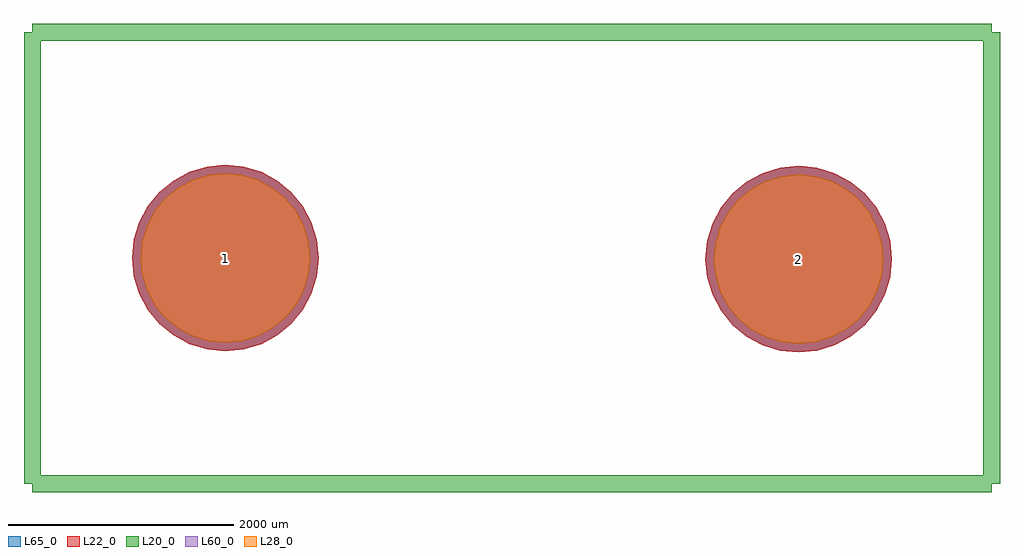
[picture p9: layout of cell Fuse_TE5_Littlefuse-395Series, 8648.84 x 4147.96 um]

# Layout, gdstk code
import gdstk
lib = gdstk.Library(unit=1e-6, precision=1e-09)
def P(c, l, *ps):  # polygons
    for p in ps: c.add(gdstk.Polygon(p, *l))
L20_0 = (20, 0)
L22_0 = (22, 0)
L28_0 = (28, 0)
L60_0 = (60, 0)
L65_0 = (65, 0)

fuse_te5_littlefuse_395s = lib.new_cell('Fuse_TE5_Littlefuse-395Series')
P(fuse_te5_littlefuse_395s, L22_0, [(3365.57,-10.16),(3349.707,150.901),(3302.727,305.772),(3226.436,448.502),(3123.766,573.606),(2998.662,676.276),(2855.932,752.567),(2701.061,799.547),(2540,815.41),(2378.939,799.547),(2224.068,752.567),(2081.338,676.276),(1956.234,573.606),(1853.564,448.502),(1777.273,305.772),(1730.293,150.901),(1714.43,-10.16),(1730.293,-171.221),(1777.273,-326.092),(1853.564,-468.822),(1956.234,-593.926),(2081.338,-696.596),(2224.068,-772.887),(2378.939,-819.867),(2540,-835.73),(2701.061,-819.867),(2855.932,-772.887),(2998.662,-696.596),(3123.766,-593.926),(3226.436,-468.822),(3302.727,-326.092),(3349.707,-171.221)],
  [(-1714.43,0),(-1730.293,161.061),(-1777.273,315.932),(-1853.564,458.662),(-1956.234,583.766),(-2081.338,686.436),(-2224.068,762.727),(-2378.939,809.707),(-2540,825.57),(-2701.061,809.707),(-2855.932,762.727),(-2998.662,686.436),(-3123.766,583.766),(-3226.436,458.662),(-3302.727,315.932),(-3349.707,161.061),(-3365.57,0),(-3349.707,-161.061),(-3302.727,-315.932),(-3226.436,-458.662),(-3123.766,-583.766),(-2998.662,-686.436),(-2855.932,-762.727),(-2701.061,-809.707),(-2540,-825.57),(-2378.939,-809.707),(-2224.068,-762.727),(-2081.338,-686.436),(-1956.234,-583.766),(-1853.564,-458.662),(-1777.273,-315.932),(-1730.293,-161.061)])
P(fuse_te5_littlefuse_395s, L28_0, [(3290.57,-10.16),(3276.148,136.269),(3233.436,277.071),(3164.076,406.834),(3070.733,520.573),(2956.994,613.916),(2827.231,683.276),(2686.429,725.988),(2540,740.41),(2393.571,725.988),(2252.769,683.276),(2123.006,613.916),(2009.267,520.573),(1915.924,406.834),(1846.564,277.071),(1803.852,136.269),(1789.43,-10.16),(1803.852,-156.589),(1846.564,-297.391),(1915.924,-427.154),(2009.267,-540.893),(2123.006,-634.236),(2252.769,-703.596),(2393.571,-746.308),(2540,-760.73),(2686.429,-746.308),(2827.231,-703.596),(2956.994,-634.236),(3070.733,-540.893),(3164.076,-427.154),(3233.436,-297.391),(3276.148,-156.589)],
  [(-1789.43,0),(-1803.852,146.429),(-1846.564,287.231),(-1915.924,416.994),(-2009.267,530.733),(-2123.006,624.076),(-2252.769,693.436),(-2393.571,736.148),(-2540,750.57),(-2686.429,736.148),(-2827.231,693.436),(-2956.994,624.076),(-3070.733,530.733),(-3164.076,416.994),(-3233.436,287.231),(-3276.148,146.429),(-3290.57,0),(-3276.148,-146.429),(-3233.436,-287.231),(-3164.076,-416.994),(-3070.733,-530.733),(-2956.994,-624.076),(-2827.231,-693.436),(-2686.429,-736.148),(-2540,-750.57),(-2393.571,-736.148),(-2252.769,-693.436),(-2123.006,-624.076),(-2009.267,-530.733),(-1915.924,-416.994),(-1846.564,-287.231),(-1803.852,-146.429)])
P(fuse_te5_littlefuse_395s, L60_0, [(3290.57,-10.16),(3276.148,136.269),(3233.436,277.071),(3164.076,406.834),(3070.733,520.573),(2956.994,613.916),(2827.231,683.276),(2686.429,725.988),(2540,740.41),(2393.571,725.988),(2252.769,683.276),(2123.006,613.916),(2009.267,520.573),(1915.924,406.834),(1846.564,277.071),(1803.852,136.269),(1789.43,-10.16),(1803.852,-156.589),(1846.564,-297.391),(1915.924,-427.154),(2009.267,-540.893),(2123.006,-634.236),(2252.769,-703.596),(2393.571,-746.308),(2540,-760.73),(2686.429,-746.308),(2827.231,-703.596),(2956.994,-634.236),(3070.733,-540.893),(3164.076,-427.154),(3233.436,-297.391),(3276.148,-156.589)],
  [(-1789.43,0),(-1803.852,146.429),(-1846.564,287.231),(-1915.924,416.994),(-2009.267,530.733),(-2123.006,624.076),(-2252.769,693.436),(-2393.571,736.148),(-2540,750.57),(-2686.429,736.148),(-2827.231,693.436),(-2956.994,624.076),(-3070.733,530.733),(-3164.076,416.994),(-3233.436,287.231),(-3276.148,146.429),(-3290.57,0),(-3276.148,-146.429),(-3233.436,-287.231),(-3164.076,-416.994),(-3070.733,-530.733),(-2956.994,-624.076),(-2827.231,-693.436),(-2686.429,-736.148),(-2540,-750.57),(-2393.571,-736.148),(-2252.769,-693.436),(-2123.006,-624.076),(-2009.267,-530.733),(-1915.924,-416.994),(-1846.564,-287.231),(-1803.852,-146.429)])
P(fuse_te5_littlefuse_395s, L65_0, [(3365.57,-10.16),(3349.707,150.901),(3302.727,305.772),(3226.436,448.502),(3123.766,573.606),(2998.662,676.276),(2855.932,752.567),(2701.061,799.547),(2540,815.41),(2378.939,799.547),(2224.068,752.567),(2081.338,676.276),(1956.234,573.606),(1853.564,448.502),(1777.273,305.772),(1730.293,150.901),(1714.43,-10.16),(1730.293,-171.221),(1777.273,-326.092),(1853.564,-468.822),(1956.234,-593.926),(2081.338,-696.596),(2224.068,-772.887),(2378.939,-819.867),(2540,-835.73),(2701.061,-819.867),(2855.932,-772.887),(2998.662,-696.596),(3123.766,-593.926),(3226.436,-468.822),(3302.727,-326.092),(3349.707,-171.221)],
  [(-1714.43,0),(-1730.293,161.061),(-1777.273,315.932),(-1853.564,458.662),(-1956.234,583.766),(-2081.338,686.436),(-2224.068,762.727),(-2378.939,809.707),(-2540,825.57),(-2701.061,809.707),(-2855.932,762.727),(-2998.662,686.436),(-3123.766,583.766),(-3226.436,458.662),(-3302.727,315.932),(-3349.707,161.061),(-3365.57,0),(-3349.707,-161.061),(-3302.727,-315.932),(-3226.436,-458.662),(-3123.766,-583.766),(-2998.662,-686.436),(-2855.932,-762.727),(-2701.061,-809.707),(-2540,-825.57),(-2378.939,-809.707),(-2224.068,-762.727),(-2081.338,-686.436),(-1956.234,-583.766),(-1853.564,-458.662),(-1777.273,-315.932),(-1730.293,-161.061)])
fuse_te5_littlefuse_395s.add(gdstk.FlexPath([(-4249.42,1998.98),(-4249.42,-1998.98)], 149.998, ends="flush", simple_path=True, layer=20, datatype=0))  # L20_0
fuse_te5_littlefuse_395s.add(gdstk.FlexPath([(4249.42,1998.98),(-4249.42,1998.98)], 149.998, ends="flush", simple_path=True, layer=20, datatype=0))  # L20_0
fuse_te5_littlefuse_395s.add(gdstk.FlexPath([(4249.42,-1998.98),(4249.42,1998.98)], 149.998, ends="flush", simple_path=True, layer=20, datatype=0))  # L20_0
fuse_te5_littlefuse_395s.add(gdstk.FlexPath([(-4249.42,-1998.98),(4249.42,-1998.98)], 149.998, ends="flush", simple_path=True, layer=20, datatype=0))  # L20_0
fuse_te5_littlefuse_395s.add(gdstk.Label('2', (2540,-10.16), layer=28, texttype=0))
fuse_te5_littlefuse_395s.add(gdstk.Label('1', (-2540,0), layer=28, texttype=0))
fuse_te5_littlefuse_395s.add(gdstk.Label('type', (-200.66,-3700.78), layer=9, texttype=0))
fuse_te5_littlefuse_395s.add(gdstk.Label('devicename', (99.06,3401.06), layer=9, texttype=0))

lib.write_gds('Fuse_TE5_Littlefuse-395Series.gds')
